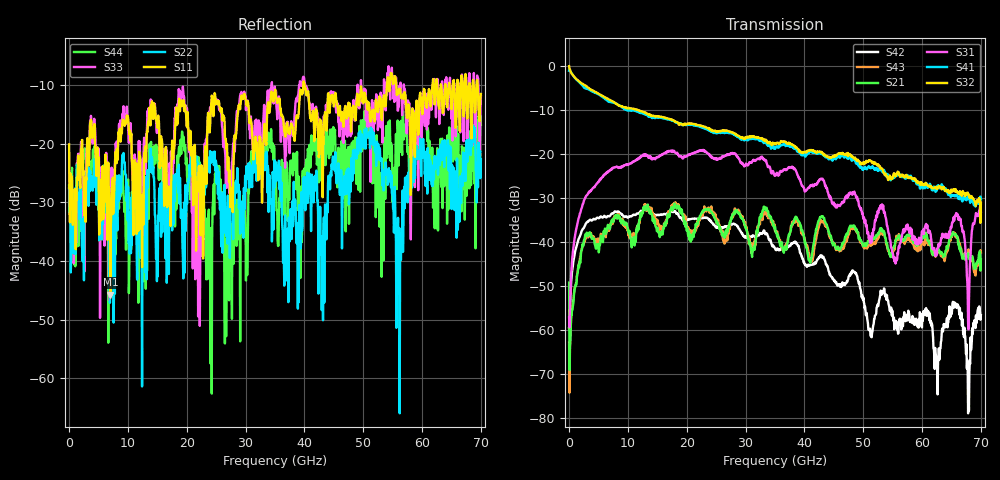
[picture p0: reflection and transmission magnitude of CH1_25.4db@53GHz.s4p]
#  HZ  S  DB  R  50.00
! Rohde & Schwarz ZVA67 4Ports - Version 3.50 - 1305.7002k04 SN: 101113
! Date: 2025-11-24 11:58:14
! Measurements: S11 S12 S13 S14 S21 S22 S23 S24 S31 S32 S33 S34 S41 S42 S43 S44
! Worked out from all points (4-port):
!   1000 points, 10 MHz to 70 GHz, reference 50 ohm
!   strongest paths, dB at 10 MHz, 17.53 GHz, 35.04 GHz, 52.56 GHz, 70 GHz:
!     S32: -0.1, -12.3, -17.8, -22.4, -31.2
!     S41: -1.2, -12.5, -18.9, -23.9, -30.4
!     S31: -57.2, -19.6, -25.0, -33.5, -33.2
!     S21: -49.3, -32.4, -36.7, -38.0, -44.0
!     S43: -62.9, -32.6, -37.7, -39.2, -42.4
!     S42: -59.7, -33.1, -41.6, -54.6, -56.6
!   lowest |S11| = -45.7 dB at 7.016 GHz (marker M1), VSWR 1.01, Z = 50.5 - j0.127 ohm
!   |S11| at or under -10 dB: start of sweep to 39.82 GHz; 40.03 GHz to 54.03 GHz (14.01 GHz wide, 29.8 % of centre); 55.6 GHz to 61.78 GHz (6.182 GHz wide, 10.5 % of centre)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
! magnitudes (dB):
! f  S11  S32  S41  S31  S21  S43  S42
! 10 MHz  -20.2  -0.1  -1.2  -57.2  -49.3  -62.9  -59.7
! 7.016 GHz  -45.7  -7.9  -8.3  -23.7  -36.4  -36.3  -34.0
! 43.1 GHz  -29.2  -20.0  -20.1  -25.7  -34.3  -35.5  -43.5
! 50.59 GHz  -12.8  -21.7  -23.5  -36.2  -40.6  -41.4  -56.2
! 55.99 GHz  -11.4  -24.2  -24.9  -41.4  -38.8  -39.5  -60.7
! 67.83 GHz  -12.7  -29.3  -29.9  -58.4  -42.6  -42.1  -79.0
! 70 GHz  -11.6  -31.2  -30.4  -33.2  -44.0  -42.4  -56.6
